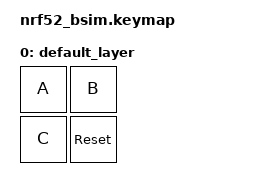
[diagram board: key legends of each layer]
#include <behaviors.dtsi>
#include <dt-bindings/zmk/bt.h>
#include <dt-bindings/zmk/keys.h>

&matrix {
    /delete-property/ exit-after;
    events = <>;
};
/ {
    keymap {
        compatible = "zmk,keymap";

        default_layer {
            bindings = <
            &kp A &kp B
            &kp C &sys_reset>;
        };
    };
};
